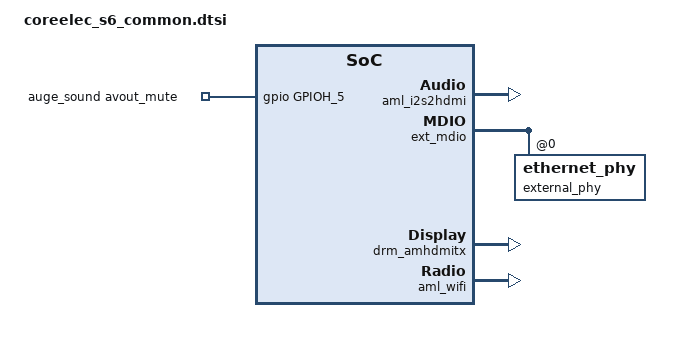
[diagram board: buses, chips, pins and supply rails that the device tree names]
#include "coreelec_common.dtsi"

/ {
	compatible = "amlogic, s6";

	amhdmitx: amhdmitx{
		vend_data: vend_data { /* Should modified by Customer */
			product_desc = "S6"; /* Max Chars: 16 */
		};
	};

	reserved-memory {
		// for 4k fb
		dmaheap_fb_reserved:heap-fb {
			size = <0x0 0xE000000>;
		};

		pcie_dma_ops_mm:linux,pcie_dma_ops {
			size = <0x0 0x5000000>;
		};
	};

	bl30_manager {
		mboxes = <&mbox_fifo S6_REE2AO_DEV>;
	};

	mbox_devfs {
		status = "disabled";
	};

	gpu:valhall {
		compatible = "arm,mali-valhall-csf";
	};

	/delete-node/ auge_sound;
	auge_sound {
		compatible = "amlogic, auge-sound-card";
		aml-audio-card,name = "AML-AUGESOUND";

		avout_mute-gpios = <&gpio GPIOH_5 GPIO_ACTIVE_HIGH>;

		aml-audio-card,dai-link@0 {
			mclk-fs = <128>;
			continuous-clock;
			cpu {
				system-clock-frequency = <6144000>;
				sound-dai = <&spdifb>;
			};
			codec {
				sound-dai = <&dummy_codec>;
			};
		};

		aml-audio-card,dai-link@1 {
			format = "i2s";
			mclk-fs = <256>;
			bitclock-master = <&tdmc>;
			frame-master = <&tdmc>;
			cpu {
				dai-tdm-slot-tx-mask = <1 1>;
				dai-tdm-slot-rx-mask = <1 1>;
				dai-tdm-slot-num = <2>;
				dai-tdm-slot-width = <32>;
				system-clock-frequency = <12288000>;
				sound-dai = <&tdmc>;
			};
			codec {
				sound-dai = <&amlogic_codec>;
			};
		};

		aml-audio-card,dai-link@2 {
			mclk-fs = <128>;
			continuous-clock;
			cpu {
				system-clock-frequency = <6144000>;
				sound-dai = <&spdifa>;
			};
			codec {
				sound-dai = <&dummy_codec>;
			};
		};

		aml-audio-card,dai-link@3 {
			format = "i2s";
			mclk-fs = <256>;
			bitclock-master = <&aml_i2s2hdmi>;
			frame-master = <&aml_i2s2hdmi>;
			cpu {
				sound-dai = <&aml_i2s2hdmi>;
				dai-tdm-slot-tx-mask = <1 1>;
				dai-tdm-slot-rx-mask = <1 1>;
				dai-tdm-slot-num = <2>;
				dai-tdm-slot-width = <32>;
				system-clock-frequency = <12288000>;
			};
			codec {
				sound-dai = <&dummy_codec>;
			};
		};
	};

	meson-ir {
		/* Multi-format IR controller */
		reg = <0x0 0xfe084080 0x0 0xA4>;
		interrupts = <GIC_SPI 80 IRQ_TYPE_EDGE_RISING>;
	};

	meson-remote {
		reg = <0x0 0xfe084080 0x0 0xA4>, /*Multi-format IR controller*/
		      <0x0 0xfe084000 0x0 0x58>; /*Legacy IR controller*/
		interrupts = <GIC_SPI 80 IRQ_TYPE_EDGE_RISING>;
	};
};

&audiobus {
	/delete-node/ tdm@1;
	/delete-node/ resample@0;
	/delete-node/ resample@1;
	/delete-node/ loopback@0;
	/delete-node/ loopback@1;
	/delete-node/ extn;
	/delete-node/ effect;
	/delete-node/ vad;

	aml_i2s2hdmi: i2s2hdmi {
		compatible = "amlogic, tm2-revb-snd-tdmb";
		dai-tdm-lane-slot-mask-in = <1 1 1 1>;
		dai-tdm-lane-slot-mask-out = <1 1 1 1>;
		dai-tdm-clk-sel = <1>;
		clocks = <&clkaudio CLKID_AUDIO_MCLK_B
				&clkc CLKID_HIFI_PLL
				&clkc CLKID_HIFI1_PLL>;
		clock-names = "mclk", "clk_srcpll", "clk_src_cd";
		i2s2hdmi = <1>;
	};
};

&ext_mdio {
	/delete-node/ ethernet-phy@0;
	external_phy: ethernet_phy@0 {
		/delete-property/ reg;
	};
};

&drm_amhdmitx {
	status = "okay";
};

&i2c0 {
	/delete-node/ sy602x_54@2a;
	/delete-node/ aw9523_led@5b;
};

&i2c5 {
	/delete-node/ sensor0@1a;
};

&apb4 {
	watchdog@2100 {
		amlogic,feed_watchdog_mode = <0>;
	};
};

&aml_wifi {
	status = "okay";
	wifi_static_buf = <2>;  /* dhd wifi for android */
};
